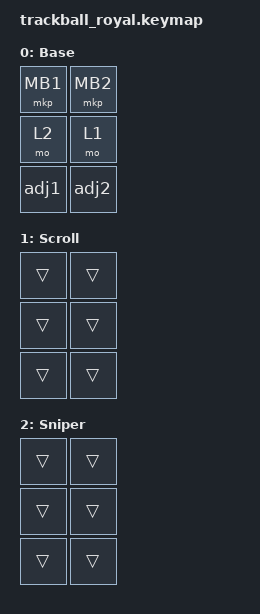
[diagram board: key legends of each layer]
#include "keys_ru.h"
#include <dt-bindings/zmk/input_transform.h>
#include <input/processors.dtsi>
#include <zephyr/dt-bindings/input/input-event-codes.h>
#include <dt-bindings/zmk/matrix_transform.h>
#include <scroll-snap.dtsi>
#include <behaviors.dtsi>
#include <dt-bindings/zmk/bt.h>
#include <dt-bindings/zmk/pointing.h>

/ {
    default_transform: keymap_transform_0 {
        compatible = "zmk,matrix-transform";
        columns = <2>;
        rows = <3>;
        map = <
        RC(0,3) RC(0,2)
        RC(0,0) RC(0,1)
        RC(0,5) RC(0,4)
        >;
    };

    combos {
        compatible = "zmk,combos";

        base_combo {
            bindings = <&mkp MB3>;
            key-positions = <0 1>;
        };
    };

    behaviors {
        adj1: adj1 {
            compatible = "zmk,behavior-tap-dance";
            label = "ADJ1";
            #binding-cells = <0>;
            bindings = <&bt BT_SEL 0>, <&bt BT_CLR>;
        };

        adj2: adj2 {
            compatible = "zmk,behavior-tap-dance";
            label = "ADJ2";
            #binding-cells = <0>;
            bindings = <&bt BT_NXT>, <&bt BT_CLR_ALL>;
        };
    };

    keymap {
        compatible = "zmk,keymap";

        base {
            bindings = <
&mkp MB1  &mkp MB2
&mo 2     &mo 1
&adj1     &adj2
            >;

            display-name = "Base";
        };

        scroll {
            bindings = <
&trans  &trans
&trans  &trans
&trans  &trans
            >;

            display-name = "Scroll";
        };

        sniper {
            bindings = <
&trans  &trans
&trans  &trans
&trans  &trans
            >;

            display-name = "Sniper";
        };
    };
};

&trackball { cpi = <1000>; };

&trackball_listener {
    input-processors = <&zip_xy_scaler 9 20>;

    scroller {
        layers = <1>;
        input-processors =
            <&zip_xy_transform INPUT_TRANSFORM_Y_INVERT>,
            <&zip_xy_scaler 1 32>,
            <&zip_xy_to_scroll_mapper &zip_scroll_snap>;
    };

    sniper {
        layers = <2>;
        input-processors = <&zip_xy_scaler 1 4>;
    };

    adjust {
        layers = <3>;
        input-processors = <&zip_xy_scaler 1 8>;
    };
};
